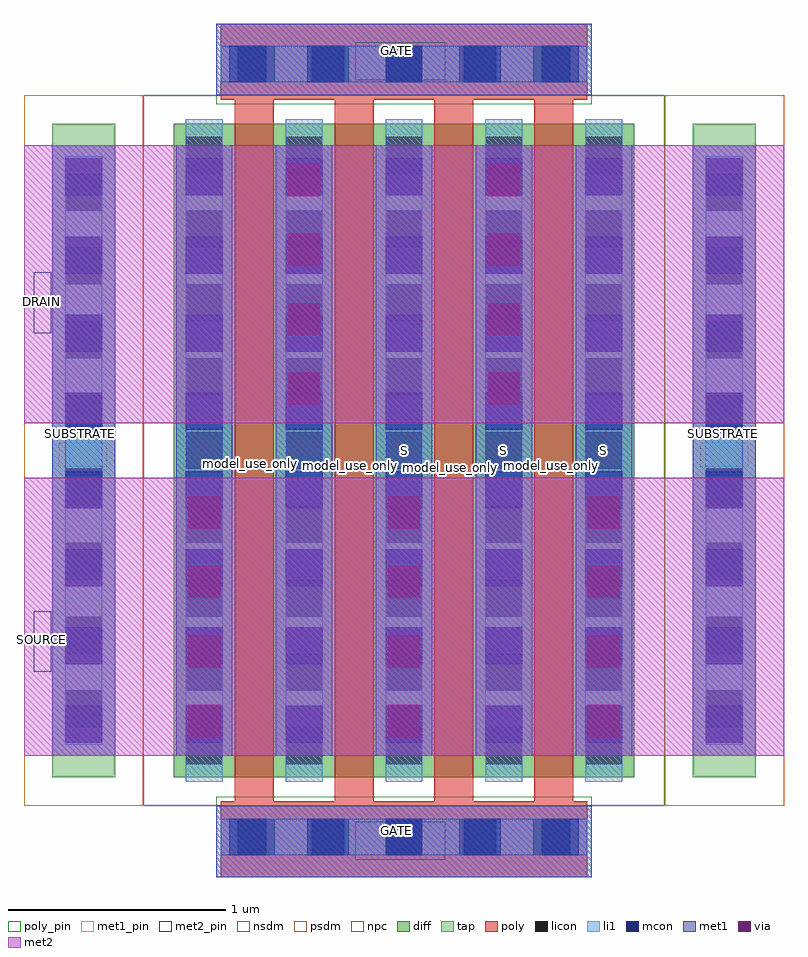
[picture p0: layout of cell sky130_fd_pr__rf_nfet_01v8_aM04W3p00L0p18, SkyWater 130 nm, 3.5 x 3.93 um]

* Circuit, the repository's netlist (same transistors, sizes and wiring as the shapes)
* Copyright 2020 The SkyWater PDK Authors
*
* Licensed under the Apache License, Version 2.0 (the "License");
* you may not use this file except in compliance with the License.
* You may obtain a copy of the License at
*
*     https://www.apache.org/licenses/LICENSE-2.0
*
* Unless required by applicable law or agreed to in writing, software
* distributed under the License is distributed on an "AS IS" BASIS,
* WITHOUT WARRANTIES OR CONDITIONS OF ANY KIND, either express or implied.
* See the License for the specific language governing permissions and
* limitations under the License.
*
* SPDX-License-Identifier: Apache-2.0


.subckt sky130_fd_pr__rf_nfet_01v8_aM04W3p00L0p18 DRAIN GATE SOURCE SUBSTRATE
X0 DRAIN GATE SOURCE SUBSTRATE sky130_fd_pr__nfet_01v8 w=3.01e+06u l=180000u
X1 SOURCE GATE DRAIN SUBSTRATE sky130_fd_pr__nfet_01v8 w=3.01e+06u l=180000u
X2 DRAIN GATE SOURCE SUBSTRATE sky130_fd_pr__nfet_01v8 w=3.01e+06u l=180000u
X3 SOURCE GATE DRAIN SUBSTRATE sky130_fd_pr__nfet_01v8 w=3.01e+06u l=180000u
.ends

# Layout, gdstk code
import gdstk
lib = gdstk.Library(unit=1e-6, precision=1e-09)
def R(c, l, rs):  # rectangles x0, y0, x1, y1
    for r in rs: c.add(gdstk.rectangle(r[:2], r[2:], *l))
def A(c, l, x, y, w, h, nx, ny, dx, dy):  # array of equal rectangles
    R(c, l, [(x+i*dx, y+j*dy, x+i*dx+w, y+j*dy+h) for i in range(nx) for j in range(ny)])
diff = (65, 20)
tap = (65, 44)
poly_pin = (66, 16)
poly = (66, 20)
licon = (66, 44)
li1 = (67, 20)
mcon = (67, 44)
met1_pin = (68, 16)
met1 = (68, 20)
via = (68, 44)
met2_pin = (69, 16)
met2 = (69, 20)
nsdm = (93, 44)
psdm = (94, 20)
npc = (95, 20)

sky130_fd_pr__rf_nfet_01 = lib.new_cell('sky130_fd_pr__rf_nfet_01v8_aM04W3p00L0p18')
R(sky130_fd_pr__rf_nfet_01, diff, [(0.69,0.46,2.81,3.47)])
R(sky130_fd_pr__rf_nfet_01, tap, [(0.13,0.46,0.42,3.47), (3.08,0.46,3.37,3.47)])
R(sky130_fd_pr__rf_nfet_01, poly_pin, [(1.525,0.08,1.94,0.255), (1.525,3.67,1.94,3.845)])
A(sky130_fd_pr__rf_nfet_01, poly, 0.97, 0.35, 0.18, 3.23, 4, 1, 0.46, 0)
R(sky130_fd_pr__rf_nfet_01, poly, [(0.905,0,2.595,0.35), (0.905,3.58,2.595,3.93)])
A(sky130_fd_pr__rf_nfet_01, licon, 0.985, 0.1, 0.17, 0.17, 5, 2, 0.34, 3.56)
A(sky130_fd_pr__rf_nfet_01, licon, 0.745, 0.52, 0.17, 0.17, 5, 9, 0.46, 0.34)
A(sky130_fd_pr__rf_nfet_01, licon, 0.19, 0.69, 0.17, 0.17, 1, 8, 0, 0.34)
A(sky130_fd_pr__rf_nfet_01, licon, 3.14, 0.69, 0.17, 0.17, 1, 8, 0, 0.34)
A(sky130_fd_pr__rf_nfet_01, li1, 0.745, 0.44, 0.17, 3.05, 5, 1, 0.46, 0)
A(sky130_fd_pr__rf_nfet_01, li1, 0.745, 0.62, 0.17, 2.69, 5, 1, 0.46, 0)
R(sky130_fd_pr__rf_nfet_01, li1, [(0.905,0.1,2.595,0.27), (0.945,0.1,2.555,0.27), (0.19,0.61,0.36,3.32), (3.14,0.61,3.31,3.32), (0.19,0.62,0.36,3.31), (3.14,0.62,3.31,3.31), (0.905,3.66,2.595,3.83), (0.945,3.66,2.555,3.83)])
A(sky130_fd_pr__rf_nfet_01, mcon, 0.945, 0.1, 0.17, 0.17, 5, 2, 0.36, 3.56)
A(sky130_fd_pr__rf_nfet_01, mcon, 0.19, 0.62, 0.17, 0.17, 1, 8, 0, 0.36)
A(sky130_fd_pr__rf_nfet_01, mcon, 0.745, 0.62, 0.17, 0.17, 5, 8, 0.46, 0.36)
A(sky130_fd_pr__rf_nfet_01, mcon, 3.14, 0.62, 0.17, 0.17, 1, 8, 0, 0.36)
R(sky130_fd_pr__rf_nfet_01, met1_pin, [(0.16,1.89,0.38,2), (3.115,1.89,3.335,2)])
A(sky130_fd_pr__rf_nfet_01, met1, 0.7, 0.56, 0.26, 1.28, 3, 1, 0.92, 0)
A(sky130_fd_pr__rf_nfet_01, met1, 0.7, 0.56, 0.26, 2.81, 5, 1, 0.46, 0)
R(sky130_fd_pr__rf_nfet_01, met1, [(0.885,0,2.615,0.33), (0.13,0.56,0.42,3.37), (3.08,0.56,3.37,3.37), (1.16,2.09,1.42,3.37), (2.08,2.09,2.34,3.37), (0.885,3.6,2.615,3.93)])
A(sky130_fd_pr__rf_nfet_01, via, 0.755, 0.645, 0.15, 0.15, 3, 4, 0.92, 0.32)
A(sky130_fd_pr__rf_nfet_01, via, 1.215, 2.175, 0.15, 0.15, 1, 4, 0, 0.32)
A(sky130_fd_pr__rf_nfet_01, via, 2.135, 2.175, 0.15, 0.15, 1, 4, 0, 0.32)
R(sky130_fd_pr__rf_nfet_01, met2_pin, [(0.045,0.945,0.125,1.225), (0.045,2.505,0.125,2.785)])
A(sky130_fd_pr__rf_nfet_01, met2, 0.7, 0.56, 0.26, 1.28, 3, 1, 0.92, 0)
R(sky130_fd_pr__rf_nfet_01, met2, [(0,0.56,3.5,1.84), (0,2.09,3.5,3.37), (1.16,2.09,1.42,3.37), (2.08,2.09,2.34,3.37)])
R(sky130_fd_pr__rf_nfet_01, nsdm, [(0.55,0.33,2.95,3.6)])
R(sky130_fd_pr__rf_nfet_01, psdm, [(0,0.33,0.55,3.6), (2.95,0.33,3.5,3.6)])
R(sky130_fd_pr__rf_nfet_01, npc, [(0.885,0,2.615,0.37), (0.885,3.56,2.615,3.93)])
sky130_fd_pr__rf_nfet_01.add(gdstk.Label('GATE', (1.715,0.215), layer=66, texttype=5))
sky130_fd_pr__rf_nfet_01.add(gdstk.Label('GATE', (1.715,3.805), layer=66, texttype=5))
sky130_fd_pr__rf_nfet_01.add(gdstk.Label('SUBSTRATE', (3.22,2.045), layer=68, texttype=16))
sky130_fd_pr__rf_nfet_01.add(gdstk.Label('SUBSTRATE', (0.26,2.045), layer=68, texttype=16))
sky130_fd_pr__rf_nfet_01.add(gdstk.Label('DRAIN', (0.08,2.65), layer=69, texttype=5))
sky130_fd_pr__rf_nfet_01.add(gdstk.Label('SOURCE', (0.08,1.095), layer=69, texttype=5))
sky130_fd_pr__rf_nfet_01.add(gdstk.Label('model_use_only', (2.43,1.895), layer=66, texttype=83))
sky130_fd_pr__rf_nfet_01.add(gdstk.Label('model_use_only', (1.965,1.885), layer=66, texttype=83))
sky130_fd_pr__rf_nfet_01.add(gdstk.Label('model_use_only', (1.505,1.895), layer=66, texttype=83))
sky130_fd_pr__rf_nfet_01.add(gdstk.Label('model_use_only', (1.045,1.905), layer=66, texttype=83))
sky130_fd_pr__rf_nfet_01.add(gdstk.Label('S', (0.83,1.965), layer=83, texttype=44))
sky130_fd_pr__rf_nfet_01.add(gdstk.Label('S', (1.29,1.965), layer=83, texttype=44))
sky130_fd_pr__rf_nfet_01.add(gdstk.Label('S', (1.75,1.965), layer=83, texttype=44))
sky130_fd_pr__rf_nfet_01.add(gdstk.Label('S', (2.21,1.965), layer=83, texttype=44))
sky130_fd_pr__rf_nfet_01.add(gdstk.Label('S', (0.83,1.965), layer=83, texttype=44))
sky130_fd_pr__rf_nfet_01.add(gdstk.Label('D', (1.29,1.965), layer=83, texttype=44))
sky130_fd_pr__rf_nfet_01.add(gdstk.Label('S', (1.75,1.965), layer=83, texttype=44))
sky130_fd_pr__rf_nfet_01.add(gdstk.Label('D', (2.21,1.965), layer=83, texttype=44))
sky130_fd_pr__rf_nfet_01.add(gdstk.Label('S', (2.67,1.965), layer=83, texttype=44))

lib.write_gds('sky130_fd_pr__rf_nfet_01v8_aM04W3p00L0p18.gds')
